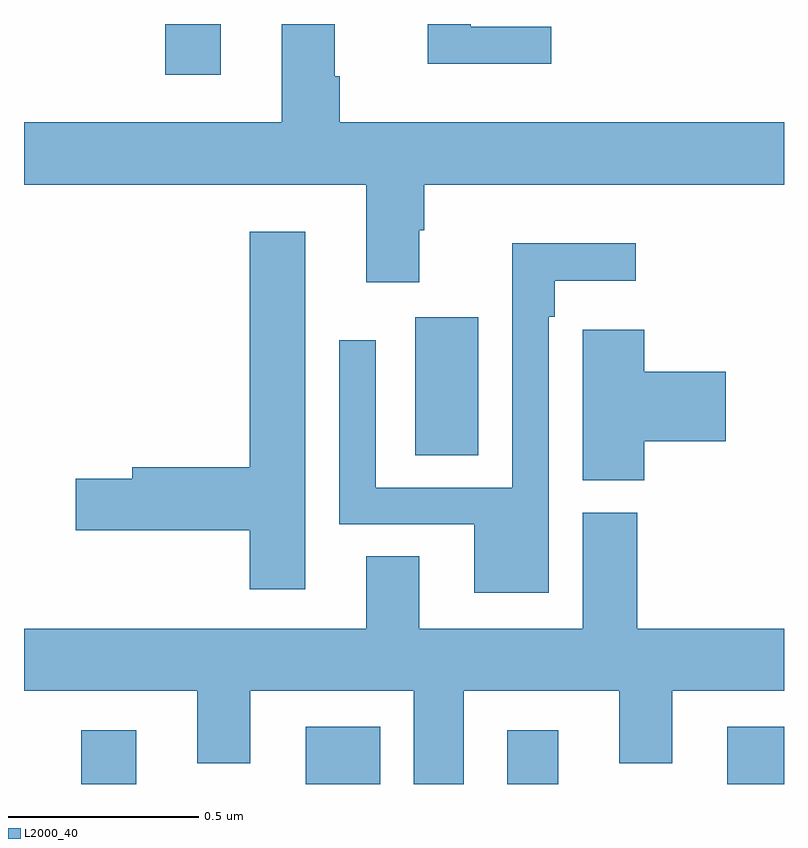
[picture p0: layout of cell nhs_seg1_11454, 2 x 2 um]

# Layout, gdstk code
import gdstk
lib = gdstk.Library(unit=1e-6, precision=1e-09)
def R(c, l, rs):  # rectangles x0, y0, x1, y1
    for r in rs: c.add(gdstk.rectangle(r[:2], r[2:], *l))
def P(c, l, *ps):  # polygons
    for p in ps: c.add(gdstk.Polygon(p, *l))
L2000_40 = (2000, 40)

nhs_seg1_11454 = lib.new_cell('nhs_seg1_11454')
R(nhs_seg1_11454, L2000_40, [(254.15,506.199,254.296,506.341), (254.741,506.199,254.937,506.35), (255.272,506.199,255.406,506.341), (255.851,506.199,256,506.35), (255.029,507.064,255.196,507.427), (254.372,508.065,254.518,508.199)])
P(nhs_seg1_11454, L2000_40, [(255.388,508.192),(255.175,508.192),(255.175,508.199),(255.063,508.199),(255.063,508.094),(255.388,508.094)],
  [(255.04,507.656),(255.053,507.656),(255.053,507.776),(256,507.776),(256,507.94),(254.831,507.94),(254.831,508.061),(254.818,508.061),(254.818,508.198),(254.678,508.198),(254.678,507.94),(254,507.94),(254,507.776),(254.9,507.776),(254.9,507.519),(255.04,507.519)],
  [(254.74,507.652),(254.594,507.652),(254.594,507.032),(254.285,507.032),(254.285,507.002),(254.136,507.002),(254.136,506.867),(254.594,506.867),(254.594,506.712),(254.74,506.712)],
  [(255.381,507.428),(255.397,507.428),(255.397,507.524),(255.61,507.524),(255.61,507.622),(255.285,507.622),(255.285,506.979),(254.925,506.979),(254.925,507.367),(254.829,507.367),(254.829,506.883),(255.185,506.883),(255.185,506.702),(255.381,506.702)],
  [(255.632,507.101),(255.847,507.101),(255.847,507.284),(255.632,507.284),(255.632,507.394),(255.471,507.394),(255.471,507.281),(255.47,507.281),(255.47,506.998),(255.632,506.998)],
  [(255.157,506.444),(255.566,506.444),(255.566,506.254),(255.706,506.254),(255.706,506.444),(256,506.444),(256,506.608),(255.614,506.608),(255.614,506.913),(255.47,506.913),(255.47,506.608),(255.04,506.608),(255.04,506.798),(254.9,506.798),(254.9,506.608),(254,506.608),(254,506.444),(254.456,506.444),(254.456,506.254),(254.596,506.254),(254.596,506.444),(255.026,506.444),(255.026,506.199),(255.157,506.199)])

lib.write_gds('nhs_seg1_11454.gds')
